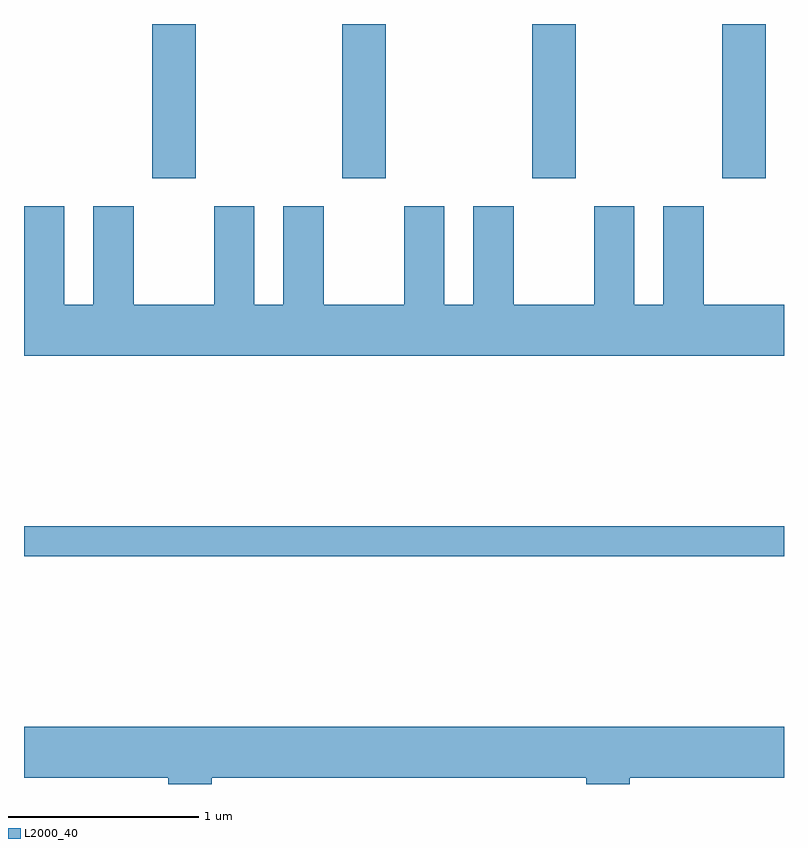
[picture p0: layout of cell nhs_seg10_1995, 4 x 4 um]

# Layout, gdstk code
import gdstk
lib = gdstk.Library(unit=1e-6, precision=1e-09)
def R(c, l, rs):  # rectangles x0, y0, x1, y1
    for r in rs: c.add(gdstk.rectangle(r[:2], r[2:], *l))
def A(c, l, x, y, w, h, nx, ny, dx, dy):  # array of equal rectangles
    R(c, l, [(x+i*dx, y+j*dy, x+i*dx+w, y+j*dy+h) for i in range(nx) for j in range(ny)])
def P(c, l, *ps):  # polygons
    for p in ps: c.add(gdstk.Polygon(p, *l))
L2000_40 = (2000, 40)

nhs_seg10_1995 = lib.new_cell('nhs_seg10_1995')
A(nhs_seg10_1995, L2000_40, 244.286, 2143.711, 0.228, 0.811, 4, 1, 1, 0)
R(nhs_seg10_1995, L2000_40, [(243.611,2141.721,247.611,2141.879)])
P(nhs_seg10_1995, L2000_40, [(247.611,2143.044),(247.189,2143.044),(247.189,2143.564),(246.976,2143.564),(246.976,2143.044),(246.824,2143.044),(246.824,2143.564),(246.611,2143.564),(246.611,2143.044),(246.189,2143.044),(246.189,2143.564),(245.976,2143.564),(245.976,2143.044),(245.824,2143.044),(245.824,2143.564),(245.611,2143.564),(245.611,2143.044),(245.189,2143.044),(245.189,2143.564),(244.976,2143.564),(244.976,2143.044),(244.824,2143.044),(244.824,2143.564),(244.611,2143.564),(244.611,2143.044),(244.189,2143.044),(244.189,2143.564),(243.976,2143.564),(243.976,2143.044),(243.824,2143.044),(243.824,2143.564),(243.611,2143.564),(243.611,2142.776),(247.611,2142.776)],
  [(244.599,2140.556),(246.571,2140.556),(246.571,2140.522),(246.799,2140.522),(246.799,2140.556),(247.611,2140.556),(247.611,2140.824),(243.611,2140.824),(243.611,2140.556),(244.371,2140.556),(244.371,2140.522),(244.599,2140.522)])

lib.write_gds('nhs_seg10_1995.gds')
